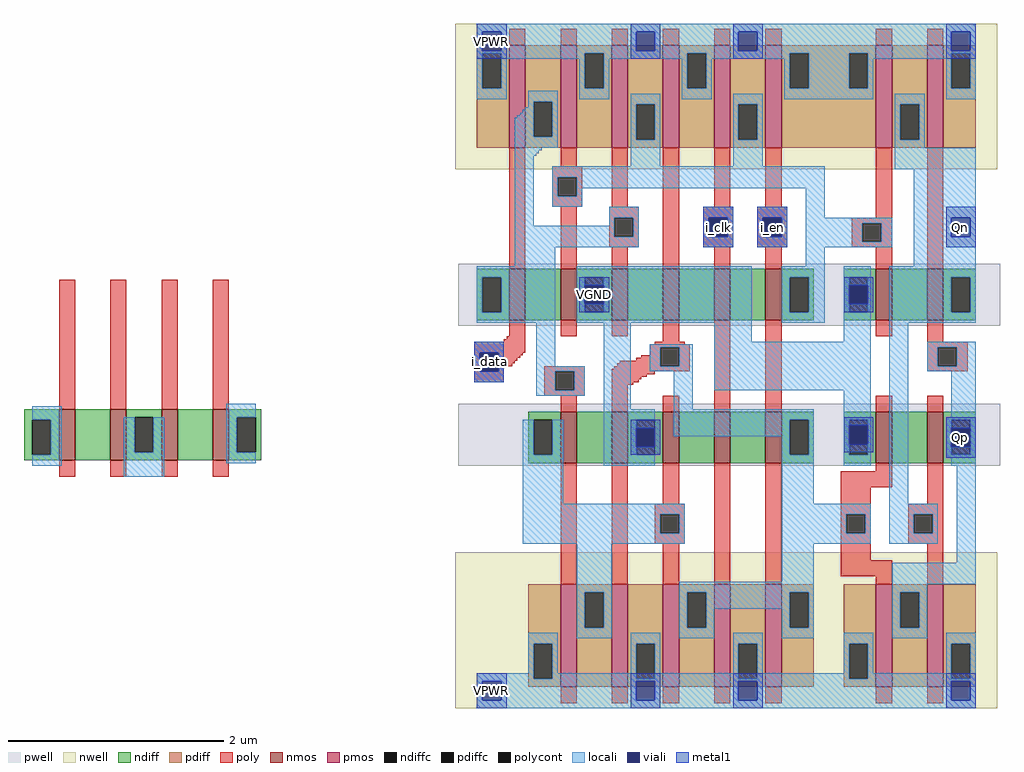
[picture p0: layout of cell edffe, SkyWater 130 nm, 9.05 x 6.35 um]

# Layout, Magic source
magic
tech sky130A
magscale 1 2
<< nwell >>
rect -320 -315 685 -45
rect -320 -1315 685 -1025
<< pwell >>
rect -315 -605 690 -490
rect -1105 -845 -1070 -780
rect -915 -840 -880 -775
rect -725 -840 -690 -775
rect -315 -865 690 -750
<< nmos >>
rect -220 -595 -190 -500
rect -125 -595 -95 -500
rect -30 -595 0 -500
rect 65 -595 95 -500
rect 160 -595 190 -500
rect 255 -595 285 -500
rect 460 -595 490 -500
rect 555 -595 585 -500
rect -1055 -855 -1025 -760
rect -960 -855 -930 -760
rect -865 -855 -835 -760
rect -770 -855 -740 -760
rect -125 -860 -95 -765
rect -30 -860 0 -765
rect 65 -860 95 -765
rect 160 -860 190 -765
rect 255 -860 285 -765
rect 460 -860 490 -765
rect 555 -860 585 -765
<< pmos >>
rect -220 -275 -190 -85
rect -125 -275 -95 -85
rect -30 -275 0 -85
rect 65 -275 95 -85
rect 160 -275 190 -85
rect 255 -275 285 -85
rect 460 -275 490 -85
rect 555 -275 585 -85
rect -125 -1275 -95 -1085
rect -30 -1275 0 -1085
rect 65 -1275 95 -1085
rect 160 -1275 190 -1085
rect 255 -1275 285 -1085
rect 460 -1275 490 -1085
rect 555 -1275 585 -1085
<< ndiff >>
rect -280 -515 -220 -500
rect -280 -580 -270 -515
rect -235 -580 -220 -515
rect -280 -595 -220 -580
rect -190 -595 -125 -500
rect -95 -515 -30 -500
rect -95 -580 -80 -515
rect -45 -580 -30 -515
rect -95 -595 -30 -580
rect 0 -595 65 -500
rect 95 -595 160 -500
rect 190 -595 255 -500
rect 285 -515 345 -500
rect 285 -580 300 -515
rect 335 -580 345 -515
rect 285 -595 345 -580
rect 400 -515 460 -500
rect 400 -580 410 -515
rect 445 -580 460 -515
rect 400 -595 460 -580
rect 490 -595 555 -500
rect 585 -515 645 -500
rect 585 -580 600 -515
rect 635 -580 645 -515
rect 585 -595 645 -580
rect -1120 -780 -1055 -760
rect -1120 -845 -1105 -780
rect -1070 -845 -1055 -780
rect -1120 -855 -1055 -845
rect -1025 -855 -960 -760
rect -930 -775 -865 -760
rect -930 -840 -915 -775
rect -880 -840 -865 -775
rect -930 -855 -865 -840
rect -835 -855 -770 -760
rect -740 -775 -680 -760
rect -740 -840 -725 -775
rect -690 -840 -680 -775
rect -740 -855 -680 -840
rect -185 -780 -125 -765
rect -185 -845 -175 -780
rect -140 -845 -125 -780
rect -185 -860 -125 -845
rect -95 -860 -30 -765
rect 0 -780 65 -765
rect 0 -845 15 -780
rect 50 -845 65 -780
rect 0 -860 65 -845
rect 95 -860 160 -765
rect 190 -860 255 -765
rect 285 -780 345 -765
rect 285 -845 300 -780
rect 335 -845 345 -780
rect 285 -860 345 -845
rect 400 -780 460 -765
rect 400 -845 410 -780
rect 445 -845 460 -780
rect 400 -860 460 -845
rect 490 -860 555 -765
rect 585 -780 645 -765
rect 585 -845 600 -780
rect 635 -845 645 -780
rect 585 -860 645 -845
<< pdiff >>
rect -280 -100 -220 -85
rect -280 -165 -270 -100
rect -235 -165 -220 -100
rect -280 -275 -220 -165
rect -190 -190 -125 -85
rect -190 -255 -175 -190
rect -140 -255 -125 -190
rect -190 -275 -125 -255
rect -95 -100 -30 -85
rect -95 -165 -80 -100
rect -45 -165 -30 -100
rect -95 -275 -30 -165
rect 0 -195 65 -85
rect 0 -260 15 -195
rect 50 -260 65 -195
rect 0 -275 65 -260
rect 95 -100 160 -85
rect 95 -165 110 -100
rect 145 -165 160 -100
rect 95 -275 160 -165
rect 190 -195 255 -85
rect 190 -260 205 -195
rect 240 -260 255 -195
rect 190 -275 255 -260
rect 285 -100 460 -85
rect 285 -165 300 -100
rect 335 -165 410 -100
rect 445 -165 460 -100
rect 285 -275 460 -165
rect 490 -195 555 -85
rect 490 -260 505 -195
rect 540 -260 555 -195
rect 490 -275 555 -260
rect 585 -100 645 -85
rect 585 -165 600 -100
rect 635 -165 645 -100
rect 585 -275 645 -165
rect -185 -1195 -125 -1085
rect -185 -1260 -175 -1195
rect -140 -1260 -125 -1195
rect -185 -1275 -125 -1260
rect -95 -1100 -30 -1085
rect -95 -1165 -80 -1100
rect -45 -1165 -30 -1100
rect -95 -1275 -30 -1165
rect 0 -1195 65 -1085
rect 0 -1260 15 -1195
rect 50 -1260 65 -1195
rect 0 -1275 65 -1260
rect 95 -1100 160 -1085
rect 95 -1165 110 -1100
rect 145 -1165 160 -1100
rect 95 -1275 160 -1165
rect 190 -1195 255 -1085
rect 190 -1260 205 -1195
rect 240 -1260 255 -1195
rect 190 -1275 255 -1260
rect 285 -1100 345 -1085
rect 285 -1165 300 -1100
rect 335 -1165 345 -1100
rect 285 -1275 345 -1165
rect 400 -1195 460 -1085
rect 400 -1260 410 -1195
rect 445 -1260 460 -1195
rect 400 -1275 460 -1260
rect 490 -1100 555 -1085
rect 490 -1165 505 -1100
rect 540 -1165 555 -1100
rect 490 -1275 555 -1165
rect 585 -1195 645 -1085
rect 585 -1260 600 -1195
rect 635 -1260 645 -1195
rect 585 -1275 645 -1260
<< ndiffc >>
rect -270 -580 -235 -515
rect -80 -580 -45 -515
rect 300 -580 335 -515
rect 410 -580 445 -515
rect 600 -580 635 -515
rect -1105 -845 -1070 -780
rect -915 -840 -880 -775
rect -725 -840 -690 -775
rect -175 -845 -140 -780
rect 15 -845 50 -780
rect 300 -845 335 -780
rect 410 -845 445 -780
rect 600 -845 635 -780
<< pdiffc >>
rect -270 -165 -235 -100
rect -175 -255 -140 -190
rect -80 -165 -45 -100
rect 15 -260 50 -195
rect 110 -165 145 -100
rect 205 -260 240 -195
rect 300 -165 335 -100
rect 410 -165 445 -100
rect 505 -260 540 -195
rect 600 -165 635 -100
rect -175 -1260 -140 -1195
rect -80 -1165 -45 -1100
rect 15 -1260 50 -1195
rect 110 -1165 145 -1100
rect 205 -1260 240 -1195
rect 300 -1165 335 -1100
rect 410 -1260 445 -1195
rect 505 -1165 540 -1100
rect 600 -1260 635 -1195
<< poly >>
rect -220 -85 -190 -55
rect -125 -85 -95 -55
rect -30 -85 0 -55
rect 65 -85 95 -55
rect 160 -85 190 -55
rect 255 -85 285 -55
rect 460 -85 490 -55
rect 555 -85 585 -55
rect -220 -500 -190 -275
rect -125 -310 -95 -275
rect -140 -330 -85 -310
rect -140 -365 -130 -330
rect -95 -365 -85 -330
rect -140 -385 -85 -365
rect -30 -385 0 -275
rect -125 -500 -95 -385
rect -35 -405 20 -385
rect -35 -440 -25 -405
rect 10 -440 20 -405
rect -35 -460 20 -440
rect -30 -500 0 -460
rect 65 -500 95 -275
rect 160 -385 190 -275
rect 255 -385 285 -275
rect 140 -405 195 -385
rect 140 -440 150 -405
rect 185 -440 195 -405
rect 140 -460 195 -440
rect 240 -405 295 -385
rect 460 -405 490 -275
rect 240 -440 250 -405
rect 285 -440 295 -405
rect 240 -460 295 -440
rect 415 -415 490 -405
rect 415 -450 435 -415
rect 470 -450 490 -415
rect 415 -460 490 -450
rect 160 -500 190 -460
rect 255 -500 285 -460
rect 460 -500 490 -460
rect 555 -500 585 -275
rect -1055 -760 -1025 -520
rect -960 -760 -930 -520
rect -865 -760 -835 -520
rect -770 -760 -740 -520
rect -220 -625 -190 -595
rect -125 -625 -95 -595
rect -30 -625 0 -595
rect -225 -630 -190 -625
rect -230 -635 -190 -630
rect 65 -635 95 -595
rect -285 -655 -190 -635
rect 50 -640 105 -635
rect 40 -645 115 -640
rect -285 -690 -275 -655
rect -240 -660 -195 -655
rect 40 -660 60 -645
rect -240 -665 -200 -660
rect 25 -665 60 -660
rect -240 -670 -205 -665
rect 15 -670 60 -665
rect -240 -675 -210 -670
rect -15 -675 60 -670
rect -240 -680 -215 -675
rect -20 -680 60 -675
rect 95 -680 115 -645
rect -240 -690 -230 -680
rect -285 -710 -230 -690
rect -155 -690 -80 -680
rect -25 -685 115 -680
rect -155 -725 -135 -690
rect -100 -725 -80 -690
rect -155 -735 -80 -725
rect -30 -690 115 -685
rect -30 -695 50 -690
rect -30 -700 35 -695
rect -30 -705 25 -700
rect -30 -710 20 -705
rect -30 -715 10 -710
rect -125 -765 -95 -735
rect -30 -765 0 -715
rect 65 -765 95 -735
rect 160 -765 190 -595
rect 255 -765 285 -595
rect 460 -625 490 -595
rect 555 -635 585 -595
rect 555 -645 630 -635
rect 555 -680 575 -645
rect 610 -680 630 -645
rect 555 -690 630 -680
rect 460 -765 490 -735
rect 555 -765 585 -735
rect -1055 -885 -1025 -855
rect -960 -885 -930 -855
rect -865 -885 -835 -855
rect -770 -885 -740 -855
rect -125 -1085 -95 -860
rect -30 -1085 0 -860
rect 65 -935 95 -860
rect 50 -955 105 -935
rect 50 -990 60 -955
rect 95 -990 105 -955
rect 50 -1010 105 -990
rect 65 -1085 95 -1010
rect 160 -1085 190 -860
rect 255 -1085 285 -860
rect 460 -875 490 -860
rect 395 -905 490 -875
rect 395 -955 450 -905
rect 555 -935 585 -860
rect 395 -990 405 -955
rect 440 -990 450 -955
rect 395 -1040 450 -990
rect 520 -955 585 -935
rect 520 -990 530 -955
rect 565 -990 585 -955
rect 520 -1010 585 -990
rect 395 -1070 490 -1040
rect 460 -1085 490 -1070
rect 555 -1085 585 -1010
rect -125 -1305 -95 -1275
rect -30 -1305 0 -1275
rect 65 -1305 95 -1275
rect 160 -1305 190 -1275
rect 255 -1305 285 -1275
rect 460 -1305 490 -1275
rect 555 -1305 585 -1275
<< polycont >>
rect -130 -365 -95 -330
rect -25 -440 10 -405
rect 150 -440 185 -405
rect 250 -440 285 -405
rect 435 -450 470 -415
rect -275 -690 -240 -655
rect 60 -680 95 -645
rect -135 -725 -100 -690
rect 575 -680 610 -645
rect 60 -990 95 -955
rect 405 -990 440 -955
rect 530 -990 565 -955
<< locali >>
rect -280 -60 645 -45
rect -280 -95 -270 -60
rect -235 -95 15 -60
rect 50 -95 205 -60
rect 240 -95 600 -60
rect 635 -95 645 -60
rect -280 -100 645 -95
rect -280 -165 -270 -100
rect -235 -110 -80 -100
rect -235 -165 -225 -110
rect -280 -185 -225 -165
rect -90 -165 -80 -110
rect -45 -110 110 -100
rect -45 -165 -35 -110
rect -185 -190 -130 -170
rect -90 -185 -35 -165
rect 100 -165 110 -110
rect 145 -110 300 -100
rect 145 -165 155 -110
rect -185 -200 -175 -190
rect -190 -205 -175 -200
rect -195 -210 -175 -205
rect -200 -215 -175 -210
rect -205 -220 -175 -215
rect -210 -255 -175 -220
rect -140 -255 -130 -190
rect -210 -275 -130 -255
rect 5 -195 60 -175
rect 100 -185 155 -165
rect 290 -165 300 -110
rect 335 -165 410 -100
rect 445 -110 600 -100
rect 445 -165 455 -110
rect 5 -260 15 -195
rect 50 -260 60 -195
rect -210 -280 -160 -275
rect -210 -285 -165 -280
rect -210 -290 -170 -285
rect -210 -420 -175 -290
rect 5 -310 60 -260
rect 195 -195 250 -175
rect 290 -185 455 -165
rect 590 -165 600 -110
rect 635 -165 645 -100
rect 195 -260 205 -195
rect 240 -260 250 -195
rect 195 -310 250 -260
rect 495 -195 550 -175
rect 590 -185 645 -165
rect 495 -260 505 -195
rect 540 -260 550 -195
rect 495 -275 550 -260
rect -140 -330 365 -310
rect 495 -315 645 -275
rect -140 -365 -130 -330
rect -95 -350 365 -330
rect -95 -365 -85 -350
rect -140 -385 -85 -365
rect -35 -405 20 -385
rect -35 -420 -25 -405
rect -210 -440 -25 -420
rect 10 -440 20 -405
rect -210 -460 20 -440
rect 140 -405 195 -385
rect 140 -440 150 -405
rect 185 -440 195 -405
rect 140 -460 195 -440
rect 240 -405 295 -385
rect 240 -440 250 -405
rect 285 -440 295 -405
rect 240 -460 295 -440
rect 330 -405 365 -350
rect 530 -405 645 -315
rect 330 -415 490 -405
rect 330 -450 435 -415
rect 470 -450 490 -415
rect 330 -460 490 -450
rect 530 -440 600 -405
rect 635 -440 645 -405
rect -210 -495 -135 -460
rect 330 -495 365 -460
rect 530 -495 645 -440
rect -280 -515 -135 -495
rect -280 -580 -270 -515
rect -235 -580 -135 -515
rect -280 -600 -135 -580
rect -95 -515 230 -495
rect -95 -580 -80 -515
rect -45 -580 230 -515
rect -95 -600 230 -580
rect 285 -515 365 -495
rect 285 -580 300 -515
rect 335 -580 365 -515
rect 285 -600 365 -580
rect 400 -515 450 -495
rect 400 -580 410 -515
rect 445 -580 450 -515
rect -285 -655 -230 -635
rect -285 -690 -275 -655
rect -240 -690 -230 -655
rect -285 -710 -230 -690
rect -170 -680 -135 -600
rect -170 -690 -80 -680
rect -170 -725 -135 -690
rect -100 -725 -80 -690
rect -170 -735 -80 -725
rect -1105 -780 -1050 -755
rect -745 -775 -690 -750
rect -1070 -845 -1050 -780
rect -1105 -865 -1050 -845
rect -935 -840 -915 -775
rect -880 -840 -860 -775
rect -935 -885 -860 -840
rect -745 -840 -725 -775
rect -45 -760 5 -600
rect 160 -635 230 -600
rect 400 -635 450 -580
rect 40 -645 120 -640
rect 40 -680 60 -645
rect 95 -680 120 -645
rect 40 -690 120 -680
rect 85 -760 120 -690
rect 160 -725 450 -635
rect -45 -780 50 -760
rect -745 -860 -690 -840
rect -195 -845 -175 -780
rect -140 -845 -120 -780
rect -195 -935 -120 -845
rect -45 -845 15 -780
rect 85 -780 345 -760
rect 85 -810 300 -780
rect -45 -865 50 -845
rect 285 -845 300 -810
rect 335 -845 345 -780
rect 285 -935 345 -845
rect 400 -780 450 -725
rect 400 -845 410 -780
rect 445 -845 450 -780
rect 400 -865 450 -845
rect 485 -515 645 -495
rect 485 -580 600 -515
rect 635 -580 645 -515
rect 485 -600 645 -580
rect 485 -935 520 -600
rect 555 -645 645 -635
rect 555 -680 575 -645
rect 610 -680 645 -645
rect 555 -690 645 -680
rect 600 -775 645 -690
rect 590 -780 645 -775
rect 590 -845 600 -780
rect 635 -845 645 -780
rect 590 -850 645 -845
rect 600 -865 645 -850
rect -195 -955 105 -935
rect -195 -990 60 -955
rect 95 -990 105 -955
rect -195 -1010 105 -990
rect 285 -955 450 -935
rect 285 -990 405 -955
rect 440 -990 450 -955
rect 285 -1010 450 -990
rect 485 -955 575 -935
rect 485 -990 530 -955
rect 565 -990 575 -955
rect 485 -1010 575 -990
rect -95 -1100 -30 -1010
rect 285 -1080 345 -1010
rect 610 -1045 645 -865
rect -95 -1165 -80 -1100
rect -45 -1165 -30 -1100
rect -185 -1195 -130 -1175
rect -95 -1185 -30 -1165
rect 95 -1100 345 -1080
rect 95 -1165 110 -1100
rect 145 -1130 300 -1100
rect 145 -1165 160 -1130
rect -185 -1250 -175 -1195
rect -280 -1260 -175 -1250
rect -140 -1250 -130 -1195
rect 5 -1195 60 -1175
rect 95 -1185 160 -1165
rect 285 -1165 300 -1130
rect 335 -1165 345 -1100
rect 5 -1250 15 -1195
rect -140 -1260 15 -1250
rect 50 -1250 60 -1195
rect 195 -1195 250 -1175
rect 285 -1185 345 -1165
rect 490 -1085 645 -1045
rect 490 -1100 555 -1085
rect 490 -1165 505 -1100
rect 540 -1165 555 -1100
rect 195 -1250 205 -1195
rect 50 -1260 205 -1250
rect 240 -1250 250 -1195
rect 400 -1195 455 -1175
rect 490 -1185 555 -1165
rect 400 -1250 410 -1195
rect 240 -1260 410 -1250
rect 445 -1250 455 -1195
rect 590 -1195 645 -1175
rect 590 -1250 600 -1195
rect 445 -1260 600 -1250
rect 635 -1260 645 -1195
rect -280 -1265 645 -1260
rect -280 -1300 -270 -1265
rect -235 -1300 15 -1265
rect 50 -1300 205 -1265
rect 240 -1300 600 -1265
rect 635 -1300 645 -1265
rect -280 -1315 645 -1300
<< viali >>
rect -270 -95 -235 -60
rect 15 -95 50 -60
rect 205 -95 240 -60
rect 600 -95 635 -60
rect 150 -440 185 -405
rect 250 -440 285 -405
rect 600 -440 635 -405
rect -80 -565 -45 -530
rect 410 -565 445 -530
rect -275 -690 -240 -655
rect 15 -830 50 -795
rect 410 -825 445 -790
rect 600 -830 635 -795
rect -270 -1300 -235 -1265
rect 15 -1300 50 -1265
rect 205 -1300 240 -1265
rect 600 -1300 635 -1265
<< metal1 >>
rect -280 -60 -225 -45
rect -280 -95 -270 -60
rect -235 -95 -225 -60
rect -280 -110 -225 -95
rect 5 -60 60 -45
rect 5 -95 15 -60
rect 50 -95 60 -60
rect 5 -110 60 -95
rect 195 -60 250 -45
rect 195 -95 205 -60
rect 240 -95 250 -60
rect 195 -110 250 -95
rect 590 -60 645 -45
rect 590 -95 600 -60
rect 635 -95 645 -60
rect 590 -110 645 -95
rect 140 -405 195 -385
rect 140 -440 150 -405
rect 185 -440 195 -405
rect 140 -460 195 -440
rect 240 -405 295 -385
rect 240 -440 250 -405
rect 285 -440 295 -405
rect 240 -460 295 -440
rect 590 -405 645 -385
rect 590 -440 600 -405
rect 635 -440 645 -405
rect 590 -460 645 -440
rect -90 -530 -35 -515
rect -90 -565 -80 -530
rect -45 -565 -35 -530
rect -90 -580 -35 -565
rect 400 -530 455 -515
rect 400 -565 410 -530
rect 445 -565 455 -530
rect 400 -580 455 -565
rect -285 -655 -230 -635
rect -285 -690 -275 -655
rect -240 -690 -230 -655
rect -285 -710 -230 -690
rect 5 -795 60 -780
rect 5 -830 15 -795
rect 50 -830 60 -795
rect 5 -845 60 -830
rect 400 -790 455 -775
rect 400 -825 410 -790
rect 445 -825 455 -790
rect 400 -840 455 -825
rect 590 -795 645 -775
rect 590 -830 600 -795
rect 635 -830 645 -795
rect 590 -850 645 -830
rect -280 -1265 -225 -1250
rect -280 -1300 -270 -1265
rect -235 -1300 -225 -1265
rect -280 -1315 -225 -1300
rect 5 -1265 60 -1250
rect 5 -1300 15 -1265
rect 50 -1300 60 -1265
rect 5 -1315 60 -1300
rect 195 -1265 250 -1250
rect 195 -1300 205 -1265
rect 240 -1300 250 -1265
rect 195 -1315 250 -1300
rect 590 -1265 645 -1250
rect 590 -1300 600 -1265
rect 635 -1300 645 -1265
rect 590 -1315 645 -1300
<< labels >>
flabel metal1 -275 -690 -240 -655 5 FreeSans 200 0 0 0 i_data
flabel metal1 600 -440 635 -405 5 FreeSans 200 0 0 0 Qn
flabel metal1 600 -830 635 -795 5 FreeSans 200 0 0 0 Qp
flabel metal1 150 -440 185 -405 5 FreeSans 200 0 0 0 i_clk
flabel metal1 250 -440 285 -405 5 FreeSans 200 0 0 0 i_en
flabel metal1 -270 -95 -235 -60 5 FreeSans 200 0 0 0 VPWR
flabel metal1 -270 -1300 -235 -1265 5 FreeSans 200 0 0 0 VPWR
flabel metal1 -80 -565 -45 -530 5 FreeSans 200 0 0 0 VGND
flabel nwell -270 -1300 -235 -1265 1 FreeSans 200 0 0 0 VPB
flabel nwell -270 -95 -235 -60 1 FreeSans 200 0 0 0 VPB
flabel pwell -80 -565 -45 -530 1 FreeSans 200 0 0 0 VNB
<< end >>
